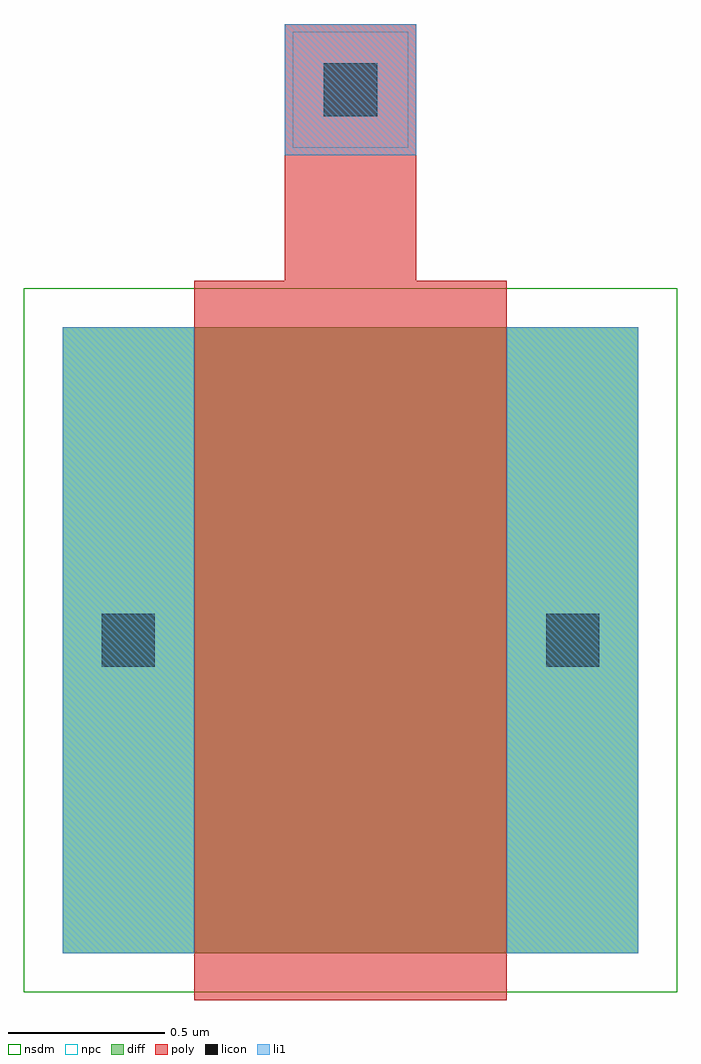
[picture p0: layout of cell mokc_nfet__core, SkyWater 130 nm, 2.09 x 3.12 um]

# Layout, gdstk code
import gdstk
lib = gdstk.Library(unit=1e-6, precision=1e-09)
def R(c, l, rs):  # rectangles x0, y0, x1, y1
    for r in rs: c.add(gdstk.rectangle(r[:2], r[2:], *l))
diff = (65, 20)
poly = (66, 20)
licon = (66, 44)
li1 = (67, 20)
nsdm = (93, 44)
npc = (95, 20)

mokc_nfet__core = lib.new_cell('mokc_nfet__core')
R(mokc_nfet__core, diff, [(0,0,1.84,2)])
R(mokc_nfet__core, poly, [(0.42,-0.15,1.42,2), (0.42,2,1.42,2.15), (0.42,2,1.42,2.15), (0.71,2.15,1.13,2.97)])
R(mokc_nfet__core, licon, [(0.125,0.915,0.295,1.085), (1.545,0.915,1.715,1.085), (0.835,2.675,1.005,2.845)])
R(mokc_nfet__core, li1, [(0,0,0.42,2), (1.42,0,1.84,2), (0.71,2.55,1.13,2.97)])
R(mokc_nfet__core, nsdm, [(-0.125,-0.125,1.965,2.125)])
R(mokc_nfet__core, npc, [(0.735,2.575,1.105,2.945)])

lib.write_gds('mokc_nfet__core.gds')
